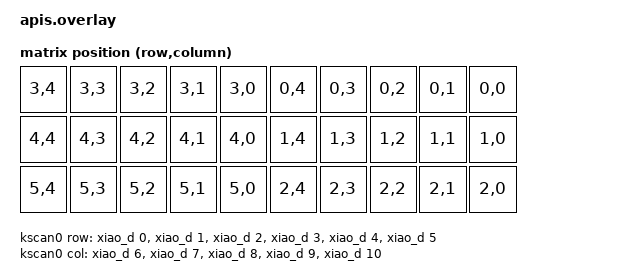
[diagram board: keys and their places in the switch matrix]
#include <dt-bindings/zmk/matrix_transform.h>

/ {
    chosen {
        zmk,kscan = &kscan0;
        zmk,matrix-transform = &default_transform;
    };

    default_transform: keymap_transform_0 {
        compatible = "zmk,matrix-transform";
        columns = <5>;
        rows = <6>;

        map = <
            RC(3,4) RC(3,3) RC(3,2) RC(3,1) RC(3,0) RC(0,4) RC(0,3) RC(0,2) RC(0,1) RC(0,0)    
            RC(4,4) RC(4,3) RC(4,2) RC(4,1) RC(4,0) RC(1,4) RC(1,3) RC(1,2) RC(1,1) RC(1,0)    
            RC(5,4) RC(5,3) RC(5,2) RC(5,1) RC(5,0) RC(2,4) RC(2,3) RC(2,2) RC(2,1) RC(2,0)    
        >;
    };

    kscan0: kscan_0 {
        compatible = "zmk,kscan-gpio-matrix";
        diode-direction = "row2col";

        debounce-press-ms = <10>;
        debounce-release-ms = <10>;

        /* Rows (Output): Active Low */
        row-gpios
            = <&xiao_d 0 GPIO_ACTIVE_LOW>
            , <&xiao_d 1 GPIO_ACTIVE_LOW>
            , <&xiao_d 2 GPIO_ACTIVE_LOW>
            , <&xiao_d 3 GPIO_ACTIVE_LOW>
            , <&xiao_d 4 GPIO_ACTIVE_LOW>
            , <&xiao_d 5 GPIO_ACTIVE_LOW>
            ;

        /* Columns (Input): Active Low with Pull-Up */
        col-gpios
            = <&xiao_d 6 (GPIO_ACTIVE_LOW | GPIO_PULL_UP)>
            , <&xiao_d 7 (GPIO_ACTIVE_LOW | GPIO_PULL_UP)>
            , <&xiao_d 8 (GPIO_ACTIVE_LOW | GPIO_PULL_UP)>
            , <&xiao_d 9 (GPIO_ACTIVE_LOW | GPIO_PULL_UP)>
            , <&xiao_d 10 (GPIO_ACTIVE_LOW | GPIO_PULL_UP)>
            ;
    };
};

/* Disable hardware buses sharing pins D6-D10 */
&xiao_serial { status = "disabled"; };
&sercom0 { status = "disabled"; };
&sercom4 { status = "disabled"; };
